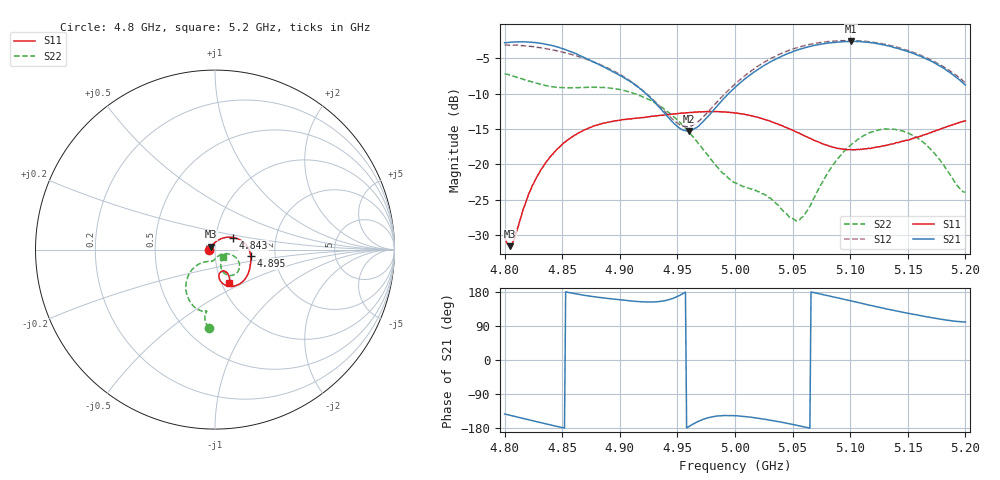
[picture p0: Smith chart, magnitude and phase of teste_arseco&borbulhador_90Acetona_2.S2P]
! Network Analyzer HP8722D
! Hewlett-Packard
! Data name: Linha & Wilkinson
! Saver's name: Rodrigo Anjos
! Comments: Teste da utilização de aquisição
! continua pelo VNA HP8722D
! Time and date: 17/4/2025 11:04
!  Frequency  S11  S21  S12  S22
# HZ  S  MA R 50
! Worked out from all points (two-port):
!   401 points, 4.8 GHz to 5.2 GHz, reference 50 ohm
!   highest |S21| = -2.63 dB at 5.101 GHz (marker M1); lowest = -15.3 dB at 4.96 GHz (marker M2)
!   |S21| within 3 dB of the highest: start of sweep to 4.878 GHz; 5.03 GHz to 5.173 GHz (143 MHz wide, 2.8 % of centre)
!   lowest |S11| = -31.6 dB at 4.805 GHz (marker M3), VSWR 1.05, Z = 47.9 + j1.53 ohm
!   |S11| at or under -10 dB: start of sweep to end of sweep
!   |S22| runs from -28.0 to -7.2 dB; largest |S21 - S12| = 0.086
!   S11 on the Smith chart (normalised r, x): 4.8 GHz: 0.94, -0.00; 4.843 GHz: 1.21, +0.16; 4.895 GHz: 1.49, -0.11; 5.2 GHz: 1.08, -0.42
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4.8e9  0.03103 -176.6  0.7224 -142.6  0.6949 -140.4  0.4364 -94.5
4.805e9  0.02641 142.9  0.7281 -146.1  0.6937 -143.8  0.4256 -95.7
4.808e9  0.02919 120.2  0.7318 -148.2  0.6936 -146.0  0.4187 -96.3
4.825e9  0.07267 57.9  0.7263 -160.7  0.6783 -156.9  0.3798 -98.6
4.843e9  0.1216 33.4  0.6852 -173.6  0.64 -167.6  0.3521 -98.1
4.867e9  0.1705 10.6  0.5776 171.7  0.5663 179.5  0.349 -98.9
4.895e9  0.2024 -9.9  0.4473 160.5  0.4538 166.6  0.3419 -108.4
4.934e9  0.2213 -29.2  0.2542 154.0  0.2604 160.8  0.2601 -128.5
4.95e9  0.228 -36.1  0.1851 167.8  0.1954 174.2  0.2054 -135.8
4.96e9  0.2318 -40.7  0.1718 -175.5  0.1848 -170.0  0.1692 -139.0
4.979e9  0.2356 -50.2  0.229 -150.7  0.2467 -147.5  0.1088 -136.1
5e9  0.2306 -61.2  0.3492 -147.2  0.3699 -144.7  0.07417 -117.9
5.026e9  0.2075 -73.5  0.5031 -156.5  0.5307 -154.5  0.06086 -97.4
5.053e9  0.1691 -81.2  0.6371 -171.9  0.6631 -171.0  0.03988 -59.7
5.059e9  0.1608 -81.8  0.6592 -176.0  0.6841 -175.1  0.04261 -42.0
5.067e9  0.15 -81.7  0.6871 178.9  0.7099 179.6  0.05421 -26.3
5.083e9  0.1339 -78.7  0.7216 168.0  0.7386 168.8  0.09336 -17.1
5.101e9  0.127 -72.3  0.7391 155.7  0.7469 156.7  0.1381 -24.1
5.117e9  0.1291 -67.7  0.726 144.6  0.7339 145.8  0.1672 -35.2
5.134e9  0.1377 -64.0  0.6839 133.3  0.6939 134.5  0.1774 -48.4
5.163e9  0.1605 -62.1  0.5699 115.9  0.58 117.4  0.1441 -67.9
5.2e9  0.2029 -67.5  0.3634 100.1  0.3781 101.1  0.06338 -42.9
